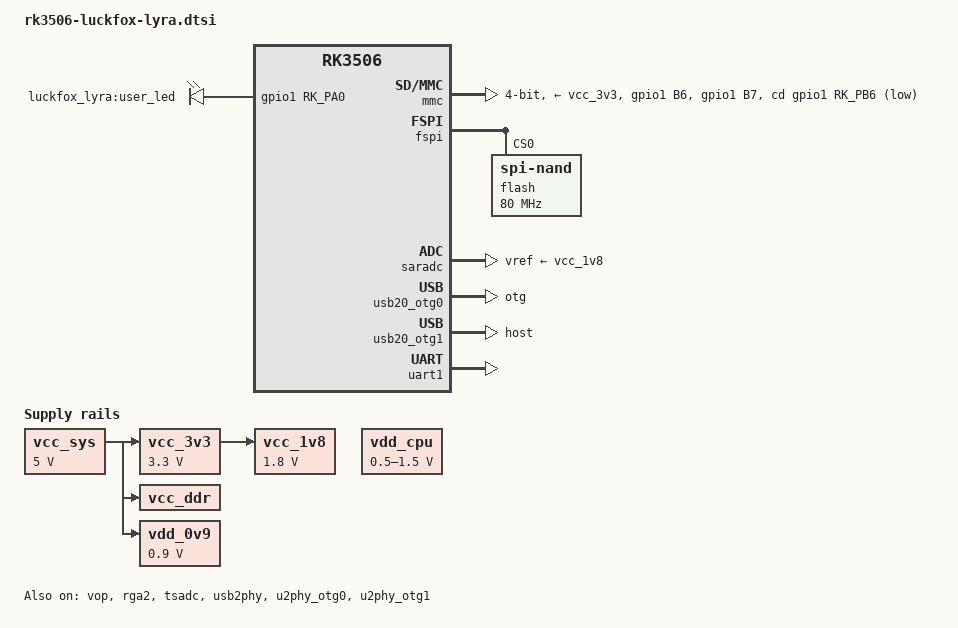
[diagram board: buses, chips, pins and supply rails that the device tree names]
// SPDX-License-Identifier: (GPL-2.0+ OR MIT)
/*
 * Copyright (c) 2024 Rockchip Electronics Co., Ltd.
 */

/dts-v1/;

#include "rk3506.dtsi"
#include "picocalc-luckfox-lyra.dtsi"

/ {
	adc_keys: adc-keys {
		compatible = "adc-keys";
		io-channels = <&saradc 1>;
		io-channel-names = "buttons";
		keyup-threshold-microvolt = <1800000>;
		poll-interval = <100>;
	};

	fiq_debugger: fiq-debugger {
		compatible = "rockchip,fiq-debugger";
		rockchip,serial-id = <0>;
		rockchip,wake-irq = <0>;
		rockchip,irq-mode-enable = <1>;
		rockchip,baudrate = <1500000>;	/* Only 115200 and 1500000 */
		interrupts = <GIC_SPI 115 IRQ_TYPE_LEVEL_HIGH>;
	};

	leds: leds {
		compatible = "gpio-leds";
		user_led: user-led {
			gpios = <&gpio1 RK_PA0 GPIO_ACTIVE_HIGH>;
			linux,default-trigger = "heartbeat";
			label = "luckfox_lyra:user_led";
		};
	};

	vcc_sys: vcc-sys {
		compatible = "regulator-fixed";
		regulator-name = "vcc_sys";
		regulator-always-on;
		regulator-boot-on;
		regulator-min-microvolt = <5000000>;
		regulator-max-microvolt = <5000000>;
	};

	vcc_3v3: vcc-3v3 {
		compatible = "regulator-fixed";
		regulator-name = "vcc_3v3";
		regulator-always-on;
		regulator-boot-on;
		regulator-min-microvolt = <3300000>;
		regulator-max-microvolt = <3300000>;
		vin-supply = <&vcc_sys>;
	};

	vcc_1v8: vcc-1v8 {
		compatible = "regulator-fixed";
		regulator-name = "vcc_1v8";
		regulator-always-on;
		regulator-boot-on;
		regulator-min-microvolt = <1800000>;
		regulator-max-microvolt = <1800000>;
		vin-supply = <&vcc_3v3>;
	};

	//1.8V
	vcc_ddr: vcc-ddr {
		compatible = "regulator-fixed";
		regulator-name = "vcc_ddr";
		regulator-always-on;
		regulator-boot-on;
		vin-supply = <&vcc_sys>;
	};

	vdd_0v9: vdd-0v9 {
		compatible = "regulator-fixed";
		regulator-name = "vdd_0v9";
		regulator-always-on;
		regulator-boot-on;
		regulator-min-microvolt = <900000>;
		regulator-max-microvolt = <900000>;
		vin-supply = <&vcc_sys>;
	};

	vdd_cpu: vdd-cpu {
		compatible = "regulator-fixed";
		regulator-name = "vdd_cpu";
		regulator-boot-on;
		regulator-always-on;
		regulator-min-microvolt = <500000>;
		regulator-max-microvolt = <1500000>;
		vin-supply = <&vdd_cpu>;
	};
};

/**********cpu**********/
&cpu0 {
	cpu-supply = <&vdd_cpu>;
	status = "okay";
};

/**********memory**********/
&cma {
	size = <0x2000000>;
};

/**********graphics**********/
&vop {
	status = "okay";
};

&rga2 {
	status = "okay";
};

/**********media**********/
&pinctrl {
	sdmmc {
		sdmmc_pwren: sdmmc-pwren {
			rockchip,pins = <1 RK_PB7 RK_FUNC_GPIO &pcfg_pull_down>;
		};

		sdmmc_det: sdmmc-det {
			rockchip,pins = <1 RK_PB6 RK_FUNC_GPIO &pcfg_pull_down>;
		};
	};
};

&mmc {
	/* For SDMMC */
	max-frequency = <52000000>;
	bus-width = <4>;
	no-sdio;
	no-mmc;
	cap-mmc-highspeed;
	cap-sd-highspeed;
	cd-gpios = <&gpio1 RK_PB6 GPIO_ACTIVE_LOW>; //det
	disable-wp;
	//sd-uhs-sdr104;
	pinctrl-names = "default";
	pinctrl-0 = <&sdmmc_clk_pins &sdmmc_cmd_pins &sdmmc_bus4_pins &sdmmc_det &sdmmc_pwren>;
	vqmmc-supply = <&vcc_3v3>;
	vmmc-supply = <&vcc_3v3>;
	status = "okay";
};

&fspi {
	status = "okay";

	flash@0 {
		compatible = "spi-nand";
		reg = <0>;
		spi-max-frequency = <80000000>;
		spi-rx-bus-width = <4>;
		spi-tx-bus-width = <1>;
	};
};

/**********adc**********/
&pinctrl {
	tsadc {
		wdt_tsadc_gpio: wdt-tsadc-gpio {
			rockchip,pins = <0 RK_PC5 RK_FUNC_GPIO &pcfg_pull_none>;
		};
	};
};

&saradc {
	vref-supply = <&vcc_1v8>;
	status = "okay";
};

&tsadc {
	pinctrl-names = "gpio", "otpout";
	pinctrl-0 = <&wdt_tsadc_gpio>;
	pinctrl-1 = <&rm_io21_wdt_tsadc_shut>;

	status = "okay";
};

/**********usb**********/
&usb20_otg0 {
	dr_mode = "otg";
	/* vbus-supply = <&vcc5v0_otg0>;
	rockchip,gpio-vbus-det; */
	status = "okay";
};

&usb20_otg1 {
	dr_mode = "host";
	status = "okay";
};

&usb2phy {
	/* extcon = <&extcon_usb>; */
	status = "okay";
};

&u2phy_otg0 {
	status = "okay";
};

&u2phy_otg1 {
	status = "okay";
};

/********serial********/
&uart1 {
    pinctrl-0 = <&rm_io30_uart1_tx &rm_io28_uart1_rx>;
    status = "okay";
};
